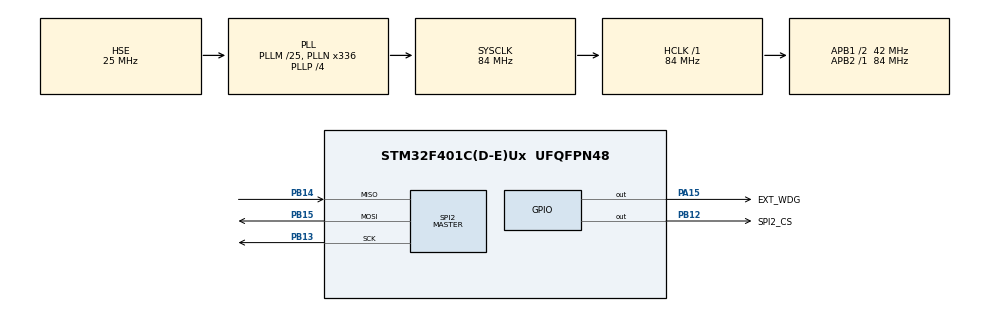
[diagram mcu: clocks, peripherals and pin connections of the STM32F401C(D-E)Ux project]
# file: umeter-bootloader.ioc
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Mcu.Family=STM32F4
Mcu.Name=STM32F401C(D-E)Ux
Mcu.Package=UFQFPN48
NVIC.PriorityGroup=NVIC_PRIORITYGROUP_4
PA13.Mode=Serial_Wire
PA13.Signal=SYS_JTMS-SWDIO
PA14.Mode=Serial_Wire
PA14.Signal=SYS_JTCK-SWCLK
PA15.GPIO_Label=EXT_WDG
PA15.Signal=GPIO_Output
PB12.GPIO_Label=SPI2_CS
PB12.PinState=GPIO_PIN_SET
PB12.Signal=GPIO_Output
PB13.Mode=Full_Duplex_Master
PB13.Signal=SPI2_SCK
PB14.Mode=Full_Duplex_Master
PB14.Signal=SPI2_MISO
PB15.Mode=Full_Duplex_Master
PB15.Signal=SPI2_MOSI
PH0\ -\ OSC_IN.Mode=HSE-External-Oscillator
PH0\ -\ OSC_IN.Signal=RCC_OSC_IN
PH1\ -\ OSC_OUT.Mode=HSE-External-Oscillator
PH1\ -\ OSC_OUT.Signal=RCC_OSC_OUT
ProjectManager.HeapSize=0x1
ProjectManager.StackSize=0x1
ProjectManager.TargetToolchain=STM32CubeIDE
RCC.48MHZClocksFreq_Value=84000000
RCC.AHBFreq_Value=84000000
RCC.APB1CLKDivider=RCC_HCLK_DIV2
RCC.APB1Freq_Value=42000000
RCC.APB1TimFreq_Value=84000000
RCC.APB2Freq_Value=84000000
RCC.APB2TimFreq_Value=84000000
RCC.CortexFreq_Value=84000000
RCC.HCLKFreq_Value=84000000
RCC.HSE_VALUE=25000000
RCC.HSI_VALUE=16000000
RCC.LSE_VALUE=32768
RCC.PLLM=25
RCC.PLLN=336
RCC.PLLP=RCC_PLLP_DIV4
RCC.PLLSourceVirtual=RCC_PLLSOURCE_HSE
RCC.SYSCLKFreq_VALUE=84000000
RCC.SYSCLKSource=RCC_SYSCLKSOURCE_PLLCLK
RCC.VCOOutputFreq_Value=336000000
SPI2.Direction=SPI_DIRECTION_2LINES
SPI2.Mode=SPI_MODE_MASTER
SPI2.VirtualType=VM_MASTER
board=custom

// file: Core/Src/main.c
/* USER CODE BEGIN Header */
/**
  ******************************************************************************
  * @file           : main.c
  * @brief          : Main program body
  ******************************************************************************
  * @attention
  *
  * Copyright (c) 2026 STMicroelectronics.
  * All rights reserved.
  *
  * This software is licensed under terms that can be found in the LICENSE file
  * in the root directory of this software component.
  * If no LICENSE file comes with this software, it is provided AS-IS.
  *
  ******************************************************************************
  */
/* USER CODE END Header */
#include "main.h"

/* USER CODE BEGIN Includes */

#include <string.h>

#include "fw_update.h"
#include "w25q.h"

#if __has_include("gitcommit.h")
#include "gitcommit.h"
#else
#define GIT_COMMIT_HASH "-"
#endif

/* USER CODE END Includes */

SPI_HandleTypeDef hspi2;

/* USER CODE BEGIN PV */

volatile struct bl_params bl __attribute__((section(".noinit")));

extern const uint32_t _app;
#define APP_ADDRESS ((uint32_t) &_app)

/* USER CODE END PV */

void SystemClock_Config(void);
static void MX_GPIO_Init(void);
static void MX_SPI2_Init(void);

/* USER CODE BEGIN 0 */

void systimer(void)
{
	static uint16_t cnt = 0;

	cnt = (cnt + 1) & 0x3FF; // ~ 1 second

	if (!cnt)
		HAL_GPIO_TogglePin(EXT_WDG_GPIO_Port, EXT_WDG_Pin);
}

/* USER CODE END 0 */

int main(void)
{

  /* MCU Configuration--------------------------------------------------------*/

  /* Reset of all peripherals, Initializes the Flash interface and the Systick. */
  HAL_Init();

  /* Configure the system clock */
  SystemClock_Config();

  /* Initialize all configured peripherals */
  MX_GPIO_Init();
  MX_SPI2_Init();
  /* USER CODE BEGIN 2 */

  // Firmware update
  struct w25q mem;
  w25q_init(&mem, &hspi2, SPI2_CS_GPIO_Port, SPI2_CS_Pin);
  fw_update(&mem, &bl);

  // Parameters
  strcpy((char *) bl.hash, GIT_COMMIT_HASH);

  // Deinitialization
  HAL_SPI_DeInit(&hspi2);
  //
  HAL_RCC_DeInit();
  HAL_SuspendTick();
  __disable_irq();

  //
  typedef void (*p_function) (void);
  uint32_t jump_address = *(__IO uint32_t *) (APP_ADDRESS + 4);
  p_function jump_to_application = (p_function) jump_address;

  SCB->VTOR = APP_ADDRESS;
  __set_MSP(*(__IO uint32_t *) APP_ADDRESS);
  jump_to_application();

  /* USER CODE END 2 */

  /* Infinite loop */
  while (1)
  {

  }
}

void SystemClock_Config(void)
{
  RCC_OscInitTypeDef RCC_OscInitStruct = {0};
  RCC_ClkInitTypeDef RCC_ClkInitStruct = {0};

  /** Configure the main internal regulator output voltage
  */
  __HAL_RCC_PWR_CLK_ENABLE();
  __HAL_PWR_VOLTAGESCALING_CONFIG(PWR_REGULATOR_VOLTAGE_SCALE2);

  /** Initializes the RCC Oscillators according to the specified parameters
  * in the RCC_OscInitTypeDef structure.
  */
  RCC_OscInitStruct.OscillatorType = RCC_OSCILLATORTYPE_HSE;
  RCC_OscInitStruct.HSEState = RCC_HSE_ON;
  RCC_OscInitStruct.PLL.PLLState = RCC_PLL_ON;
  RCC_OscInitStruct.PLL.PLLSource = RCC_PLLSOURCE_HSE;
  RCC_OscInitStruct.PLL.PLLM = 25;
  RCC_OscInitStruct.PLL.PLLN = 336;
  RCC_OscInitStruct.PLL.PLLP = RCC_PLLP_DIV4;
  RCC_OscInitStruct.PLL.PLLQ = 4;
  if (HAL_RCC_OscConfig(&RCC_OscInitStruct) != HAL_OK)
  {
    Error_Handler();
  }

  /** Initializes the CPU, AHB and APB buses clocks
  */
  RCC_ClkInitStruct.ClockType = RCC_CLOCKTYPE_HCLK|RCC_CLOCKTYPE_SYSCLK
                              |RCC_CLOCKTYPE_PCLK1|RCC_CLOCKTYPE_PCLK2;
  RCC_ClkInitStruct.SYSCLKSource = RCC_SYSCLKSOURCE_PLLCLK;
  RCC_ClkInitStruct.AHBCLKDivider = RCC_SYSCLK_DIV1;
  RCC_ClkInitStruct.APB1CLKDivider = RCC_HCLK_DIV2;
  RCC_ClkInitStruct.APB2CLKDivider = RCC_HCLK_DIV1;

  if (HAL_RCC_ClockConfig(&RCC_ClkInitStruct, FLASH_LATENCY_2) != HAL_OK)
  {
    Error_Handler();
  }
}

static void MX_SPI2_Init(void)
{

  /* SPI2 parameter configuration*/
  hspi2.Instance = SPI2;
  hspi2.Init.Mode = SPI_MODE_MASTER;
  hspi2.Init.Direction = SPI_DIRECTION_2LINES;
  hspi2.Init.DataSize = SPI_DATASIZE_8BIT;
  hspi2.Init.CLKPolarity = SPI_POLARITY_LOW;
  hspi2.Init.CLKPhase = SPI_PHASE_1EDGE;
  hspi2.Init.NSS = SPI_NSS_SOFT;
  hspi2.Init.BaudRatePrescaler = SPI_BAUDRATEPRESCALER_2;
  hspi2.Init.FirstBit = SPI_FIRSTBIT_MSB;
  hspi2.Init.TIMode = SPI_TIMODE_DISABLE;
  hspi2.Init.CRCCalculation = SPI_CRCCALCULATION_DISABLE;
  hspi2.Init.CRCPolynomial = 10;
  if (HAL_SPI_Init(&hspi2) != HAL_OK)
  {
    Error_Handler();
  }

}

static void MX_GPIO_Init(void)
{
  GPIO_InitTypeDef GPIO_InitStruct = {0};

  /* GPIO Ports Clock Enable */
  __HAL_RCC_GPIOH_CLK_ENABLE();
  __HAL_RCC_GPIOB_CLK_ENABLE();
  __HAL_RCC_GPIOA_CLK_ENABLE();

  /*Configure GPIO pin Output Level */
  HAL_GPIO_WritePin(SPI2_CS_GPIO_Port, SPI2_CS_Pin, GPIO_PIN_SET);

  /*Configure GPIO pin Output Level */
  HAL_GPIO_WritePin(EXT_WDG_GPIO_Port, EXT_WDG_Pin, GPIO_PIN_RESET);

  /*Configure GPIO pin : SPI2_CS_Pin */
  GPIO_InitStruct.Pin = SPI2_CS_Pin;
  GPIO_InitStruct.Mode = GPIO_MODE_OUTPUT_PP;
  GPIO_InitStruct.Pull = GPIO_NOPULL;
  GPIO_InitStruct.Speed = GPIO_SPEED_FREQ_LOW;
  HAL_GPIO_Init(SPI2_CS_GPIO_Port, &GPIO_InitStruct);

  /*Configure GPIO pin : EXT_WDG_Pin */
  GPIO_InitStruct.Pin = EXT_WDG_Pin;
  GPIO_InitStruct.Mode = GPIO_MODE_OUTPUT_PP;
  GPIO_InitStruct.Pull = GPIO_NOPULL;
  GPIO_InitStruct.Speed = GPIO_SPEED_FREQ_LOW;
  HAL_GPIO_Init(EXT_WDG_GPIO_Port, &GPIO_InitStruct);

}

void Error_Handler(void)
{
  __disable_irq();
  while (1)
  {
  }
}
